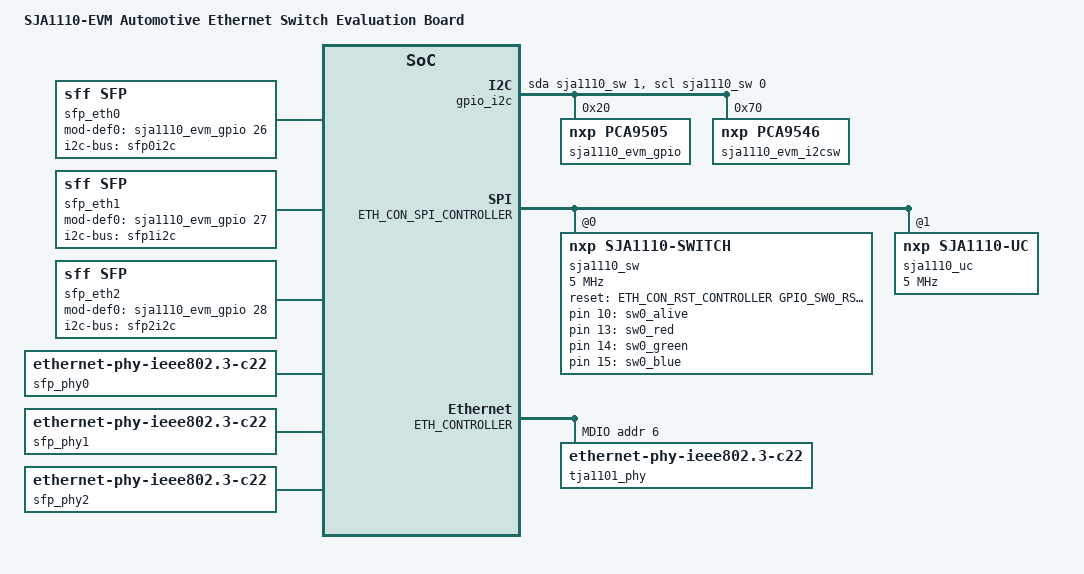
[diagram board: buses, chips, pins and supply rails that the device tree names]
/**
 * Example device tree configuration of the SJA1110-EVM
 */

#include "platform_integration.h"
#include <dt-bindings/gpio/gpio.h>

/dts-v1/;
/plugin/;
/ {
	model = "SJA1110-EVM Automotive Ethernet Switch Evaluation Board";
	compatible = "nxp,sja1110-evm";

	fragment@0 {
		target = <&ETH_CON_SPI_CONTROLLER>;
		__overlay__ {
			/* the switch cores */
			sja1110_sw: sja1110@0 {
				compatible = "nxp,sja1110-switch";
				spi-max-frequency = <5000000>;
				reset-gpio = <&ETH_CON_RST_CONTROLLER GPIO_SW0_RST GPIO_ACTIVE_LOW>;
				gpio-controller;
				#gpio-cells = <2>;

				reg = <CS0_ADDR>; /* CS */
			};

			// sja1110_sw1: sja1110sw@1 {
			// 	compatible = "nxp,sja1110-switch";
			// 	spi-max-frequency = <8000000>;
			// 	reset-gpio = <&sja1110_sw 7 GPIO_ACTIVE_LOW>;
			// 	reg = <0x1>; /* CS */
			// };

			/* the µC controlling the switch */
			sja1110_uc: sja1110@1 {
				compatible = "nxp,sja1110-uc";
				spi-max-frequency = <5000000>;
				reg = <CS1_ADDR>; /* CS */
			};
		};
	};

	fragment@1 {
		target = <&ETH_CONTROLLER>;
		__overlay__ {
			mdio {
				tja1101_phy: ethernet-phy@6	 {
					compatible = "ethernet-phy-ieee802.3-c22";
					reg = <0x6>;
					max-speed = <0x64>;
				};
			};
		};
	};

	fragment@2 {
        target-path = "/";
        __overlay__ {
			gpio_i2c {
				compatible = "i2c-gpio";
				sda-gpios = <&sja1110_sw 1 (GPIO_ACTIVE_HIGH|GPIO_OPEN_DRAIN)>;
				scl-gpios = <&sja1110_sw 0 (GPIO_ACTIVE_HIGH|GPIO_OPEN_DRAIN)>;
				i2c-gpio,delay-us = <2>;	/* ~100 kHz */
				i2c-gpio,scl-output-only;
				#address-cells = <1>;
				#size-cells = <0>;

				/* I2C Port Extender */
				sja1110_evm_gpio: gpio@20 {
					compatible = "nxp,pca9505";
					reg = <0x20>;
					gpio-controller;
					#gpio-cells = <2>;
				};
				/* I2C Switch towards SFP modules */
				sja1110_evm_i2csw: i2c-switch@70 {
					compatible = "nxp,pca9546";
					#address-cells = <1>;
					#size-cells = <0>;
					reg = <0x70>;

					sfp0i2c: sfpi2c@0 {
						#address-cells = <1>;
						#size-cells = <0>;
						reg = <0>;
					};
					sfp1i2c: sfpi2c@1 {
						#address-cells = <1>;
						#size-cells = <0>;
						reg = <1>;
					};
					sfp2i2c: sfpi2c@2 {
						#address-cells = <1>;
						#size-cells = <0>;
						reg = <2>;
					};
				};
			};

			/* SFP slots */
			sfp_eth0: sfp-eth0 {
				compatible = "sff,sfp";
				i2c-bus = <&sfp0i2c>;
				mod-def0-gpios = <&sja1110_evm_gpio 26 GPIO_ACTIVE_HIGH>;
				pinctrl-names = "default";
			};
			sfp_eth1: sfp-eth1 {
				compatible = "sff,sfp";
				i2c-bus = <&sfp1i2c>;
				mod-def0-gpios = <&sja1110_evm_gpio 27 GPIO_ACTIVE_HIGH>;
				pinctrl-names = "default";
			};
			sfp_eth2: sfp-eth2 {
				compatible = "sff,sfp";
				i2c-bus = <&sfp2i2c>;
				mod-def0-gpios = <&sja1110_evm_gpio 28 GPIO_ACTIVE_HIGH>;
				pinctrl-names = "default";
			};

			/* PHYs in SFP slots */
			sfp_phy0: ethernet-phy@0 {
				compatible = "ethernet-phy-ieee802.3-c22";
				pinctrl-names = "default";
				reg = <0>;
				sfp = <&sfp_eth0>;
			};
			sfp_phy1: ethernet-phy@1 {
				compatible = "ethernet-phy-ieee802.3-c22";
				pinctrl-names = "default";
				reg = <0>;
				sfp = <&sfp_eth1>;
			};
			sfp_phy2: ethernet-phy@2 {
				compatible = "ethernet-phy-ieee802.3-c22";
				pinctrl-names = "default";
				reg = <0>;
				sfp = <&sfp_eth2>;
			};

			/**
			 * Since the symbol 'linux' is a built-in macro of GCC
			 * we need to undefine it here. Otherwise it will be
			 * replaced by the interger 1, which invalidates the
			 * default-trigger property.
			 */
			#undef linux

			gpio-leds@0 {
				compatible = "gpio-leds";
				sw0_alive {
					gpios = <&sja1110_sw 10 GPIO_ACTIVE_HIGH>;
					default-state = "off";
					linux,default-trigger = "heartbeat";
				};
				sw0_red {
					gpios = <&sja1110_sw 13 GPIO_ACTIVE_HIGH>;
					default-state = "off";
				};
				sw0_green {
					gpios = <&sja1110_sw 14 GPIO_ACTIVE_HIGH>;
					default-state = "off";
				};
				sw0_blue {
					gpios = <&sja1110_sw 15 GPIO_ACTIVE_HIGH>;
					default-state = "off";
				};
			};
		};
	};
};
